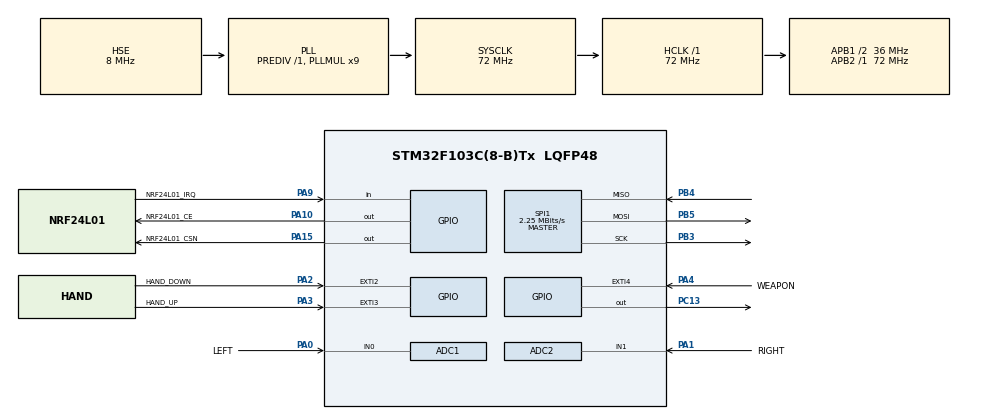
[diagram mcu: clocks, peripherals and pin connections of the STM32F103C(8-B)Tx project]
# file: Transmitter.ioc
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ADC1.Channel-0\#ChannelRegularConversion=ADC_CHANNEL_0
ADC1.NbrOfConversionFlag=1
ADC1.Rank-0\#ChannelRegularConversion=1
ADC1.SamplingTime-0\#ChannelRegularConversion=ADC_SAMPLETIME_1CYCLE_5
ADC1.master=1
ADC2.Channel-0\#ChannelRegularConversion=ADC_CHANNEL_1
ADC2.NbrOfConversionFlag=1
ADC2.Rank-0\#ChannelRegularConversion=1
ADC2.SamplingTime-0\#ChannelRegularConversion=ADC_SAMPLETIME_1CYCLE_5
Mcu.Family=STM32F1
Mcu.Name=STM32F103C(8-B)Tx
Mcu.Package=LQFP48
NVIC.ADC1_2_IRQn=true\:0\:0\:false\:false\:true\:true\:true\:true
NVIC.EXTI2_IRQn=true\:0\:0\:false\:false\:true\:true\:true\:true
NVIC.EXTI3_IRQn=true\:0\:0\:false\:false\:true\:true\:true\:true
NVIC.EXTI4_IRQn=true\:0\:0\:false\:false\:true\:true\:true\:true
NVIC.PriorityGroup=NVIC_PRIORITYGROUP_4
NVIC.TIM4_IRQn=true\:0\:0\:false\:false\:true\:true\:true\:true
PA0-WKUP.GPIO_Label=LEFT
PA0-WKUP.Signal=SharedAnalog_PA0
PA1.GPIO_Label=RIGHT
PA1.Signal=SharedAnalog_PA1
PA10.GPIO_Label=NRF24L01_CE
PA10.Signal=GPIO_Output
PA13.Mode=Serial_Wire
PA13.Signal=SYS_JTMS-SWDIO
PA14.Mode=Serial_Wire
PA14.Signal=SYS_JTCK-SWCLK
PA15.GPIO_Label=NRF24L01_CSN
PA15.Signal=GPIO_Output
PA2.GPIO_Label=HAND_DOWN
PA2.GPIO_ModeDefaultEXTI=GPIO_MODE_IT_RISING_FALLING
PA2.GPIO_PuPd=GPIO_PULLUP
PA2.Signal=GPXTI2
PA3.GPIO_Label=HAND_UP
PA3.GPIO_ModeDefaultEXTI=GPIO_MODE_IT_RISING_FALLING
PA3.GPIO_PuPd=GPIO_PULLUP
PA3.Signal=GPXTI3
PA4.GPIO_Label=WEAPON
PA4.GPIO_ModeDefaultEXTI=GPIO_MODE_IT_FALLING
PA4.GPIO_PuPd=GPIO_PULLUP
PA4.Signal=GPXTI4
PA9.GPIO_Label=NRF24L01_IRQ
PA9.Signal=GPIO_Input
PB3.Mode=Full_Duplex_Master
PB3.Signal=SPI1_SCK
PB4.Mode=Full_Duplex_Master
PB4.Signal=SPI1_MISO
PB5.Mode=Full_Duplex_Master
PB5.Signal=SPI1_MOSI
PC13-TAMPER-RTC.Signal=GPIO_Output
PC14-OSC32_IN.Mode=LSE-External-Oscillator
PC14-OSC32_IN.Signal=RCC_OSC32_IN
PC15-OSC32_OUT.Mode=LSE-External-Oscillator
PC15-OSC32_OUT.Signal=RCC_OSC32_OUT
PD0-OSC_IN.Mode=HSE-External-Oscillator
PD0-OSC_IN.Signal=RCC_OSC_IN
PD1-OSC_OUT.Mode=HSE-External-Oscillator
PD1-OSC_OUT.Signal=RCC_OSC_OUT
ProjectManager.HeapSize=0x200
ProjectManager.StackSize=0x400
ProjectManager.TargetToolchain=STM32CubeIDE
RCC.ADCPresc=RCC_ADCPCLK2_DIV6
RCC.AHBFreq_Value=72000000
RCC.APB1CLKDivider=RCC_HCLK_DIV2
RCC.APB1Freq_Value=36000000
RCC.APB1TimFreq_Value=72000000
RCC.APB2Freq_Value=72000000
RCC.APB2TimFreq_Value=72000000
RCC.HCLKFreq_Value=72000000
RCC.PLLMUL=RCC_PLL_MUL9
RCC.PLLSourceVirtual=RCC_PLLSOURCE_HSE
RCC.SYSCLKFreq_VALUE=72000000
RCC.SYSCLKSource=RCC_SYSCLKSOURCE_PLLCLK
RCC.USBFreq_Value=72000000
SH.SharedAnalog_PA0.0=GPIO_Analog
SH.SharedAnalog_PA0.1=ADC1_IN0,IN0
SH.SharedAnalog_PA1.0=GPIO_Analog
SH.SharedAnalog_PA1.1=ADC1_IN1
SH.SharedAnalog_PA1.2=ADC2_IN1,IN1
SPI1.BaudRatePrescaler=SPI_BAUDRATEPRESCALER_32
SPI1.CalculateBaudRate=2.25 MBits/s
SPI1.Direction=SPI_DIRECTION_2LINES
SPI1.Mode=SPI_MODE_MASTER
SPI1.VirtualType=VM_MASTER
TIM4.AutoReloadPreload=TIM_AUTORELOAD_PRELOAD_ENABLE
TIM4.Period=36000
TIM4.Prescaler=1000
VP_TIM4_VS_ClockSourceINT.Mode=Internal
board=custom

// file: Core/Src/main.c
/* USER CODE BEGIN Header */
/**
  ******************************************************************************
  * @file           : main.c
  * @brief          : Main program body
  ******************************************************************************
  * @attention
  *
  * Copyright (c) 2024 STMicroelectronics.
  * All rights reserved.
  *
  * This software is licensed under terms that can be found in the LICENSE file
  * in the root directory of this software component.
  * If no LICENSE file comes with this software, it is provided AS-IS.
  *
  ******************************************************************************
  */
/* USER CODE END Header */
#include "main.h"
#include "adc.h"
#include "spi.h"
#include "tim.h"
#include "gpio.h"

/* USER CODE BEGIN Includes */
#include "NRF24L01.h"
/* USER CODE END Includes */

void SystemClock_Config(void);

/* USER CODE BEGIN 0 */
const uint8_t tx_address[] = {0xEE, 0xDD, 0xCC, 0xBB, 0xAA};
Payload payload = {100, 50, 50, 1};

const uint8_t step = 5; 	// period from end to end state = 2 seconds
uint8_t hand_up = 0, hand_down = 0;

volatile uint8_t send_flag = 0;
/* USER CODE END 0 */

int main(void)
{

  /* MCU Configuration--------------------------------------------------------*/

  /* Reset of all peripherals, Initializes the Flash interface and the Systick. */
  HAL_Init();

  /* Configure the system clock */
  SystemClock_Config();

  /* Initialize all configured peripherals */
  MX_GPIO_Init();
  MX_SPI1_Init();
  MX_TIM4_Init();
  MX_ADC1_Init();
  MX_ADC2_Init();
  /* USER CODE BEGIN 2 */

  HAL_TIM_Base_Start_IT(&htim4);

  HAL_ADCEx_Calibration_Start(&hadc1);
  HAL_ADCEx_Calibration_Start(&hadc2);

  NRF24_init();
  NRF24_TX_mode(tx_address, 120);

  /* USER CODE END 2 */

  /* Infinite loop */
  /* USER CODE BEGIN WHILE */
  while (1)
  {
    if (send_flag)
    {
      send_flag = 0;

      HAL_ADC_Start_IT(&hadc1);
      HAL_ADC_Start_IT(&hadc2);
      payload_manipulation();

      if (0 == NRF24_transmit(&payload))
      {
	HAL_GPIO_TogglePin(GPIOC, GPIO_PIN_13);
      }
    }

    /* USER CODE END WHILE */

  }
}

void SystemClock_Config(void)
{
  RCC_OscInitTypeDef RCC_OscInitStruct = {0};
  RCC_ClkInitTypeDef RCC_ClkInitStruct = {0};
  RCC_PeriphCLKInitTypeDef PeriphClkInit = {0};

  /** Initializes the RCC Oscillators according to the specified parameters
  * in the RCC_OscInitTypeDef structure.
  */
  RCC_OscInitStruct.OscillatorType = RCC_OSCILLATORTYPE_HSE;
  RCC_OscInitStruct.HSEState = RCC_HSE_ON;
  RCC_OscInitStruct.HSEPredivValue = RCC_HSE_PREDIV_DIV1;
  RCC_OscInitStruct.HSIState = RCC_HSI_ON;
  RCC_OscInitStruct.PLL.PLLState = RCC_PLL_ON;
  RCC_OscInitStruct.PLL.PLLSource = RCC_PLLSOURCE_HSE;
  RCC_OscInitStruct.PLL.PLLMUL = RCC_PLL_MUL9;
  if (HAL_RCC_OscConfig(&RCC_OscInitStruct) != HAL_OK)
  {
    Error_Handler();
  }

  /** Initializes the CPU, AHB and APB buses clocks
  */
  RCC_ClkInitStruct.ClockType = RCC_CLOCKTYPE_HCLK|RCC_CLOCKTYPE_SYSCLK
                              |RCC_CLOCKTYPE_PCLK1|RCC_CLOCKTYPE_PCLK2;
  RCC_ClkInitStruct.SYSCLKSource = RCC_SYSCLKSOURCE_PLLCLK;
  RCC_ClkInitStruct.AHBCLKDivider = RCC_SYSCLK_DIV1;
  RCC_ClkInitStruct.APB1CLKDivider = RCC_HCLK_DIV2;
  RCC_ClkInitStruct.APB2CLKDivider = RCC_HCLK_DIV1;

  if (HAL_RCC_ClockConfig(&RCC_ClkInitStruct, FLASH_LATENCY_2) != HAL_OK)
  {
    Error_Handler();
  }
  PeriphClkInit.PeriphClockSelection = RCC_PERIPHCLK_ADC;
  PeriphClkInit.AdcClockSelection = RCC_ADCPCLK2_DIV6;
  if (HAL_RCCEx_PeriphCLKConfig(&PeriphClkInit) != HAL_OK)
  {
    Error_Handler();
  }
}

/* USER CODE BEGIN 4 */
/**
  * @brief TIM period elapsed callbacks
  * @param htim: Specifies the timer cousing the interrupt
  * @retval None
  */
void HAL_TIM_PeriodElapsedCallback(TIM_HandleTypeDef* htim)
{
  send_flag = !(send_flag);
}

/**
  * @brief EXTI line detection callbacks
  * @param GPIO_Pin: Specifies the pins connected EXTI line
  * @retval None
  */
void HAL_GPIO_EXTI_Callback(uint16_t GPIO_Pin)
{
  if(GPIO_Pin == HAND_UP_Pin)
  {
    hand_up = !(hand_up);
  }
  if(GPIO_Pin == HAND_DOWN_Pin)
  {
    hand_down = !(hand_down);
  }
  if(GPIO_Pin == WEAPON_Pin)
  {
    payload.weapon = !(payload.weapon);
  }
}

void payload_manipulation(void)
{
  if (hand_down)
  {
    payload.hand_position -= step;
  }
  if (hand_up)
  {
    payload.hand_position += step;
  }
}

void HAL_ADC_ConvCpltCallback(ADC_HandleTypeDef* hadc)
{
  if (hadc == &hadc1)
  {
    payload.left_speed = HAL_ADC_GetValue(hadc);
  }
  if (hadc == &hadc2)
  {
    payload.right_speed = HAL_ADC_GetValue(hadc);
  }
}

/* USER CODE END 4 */

void Error_Handler(void)
{
  __disable_irq();
  while (1)
  {
  }
}
